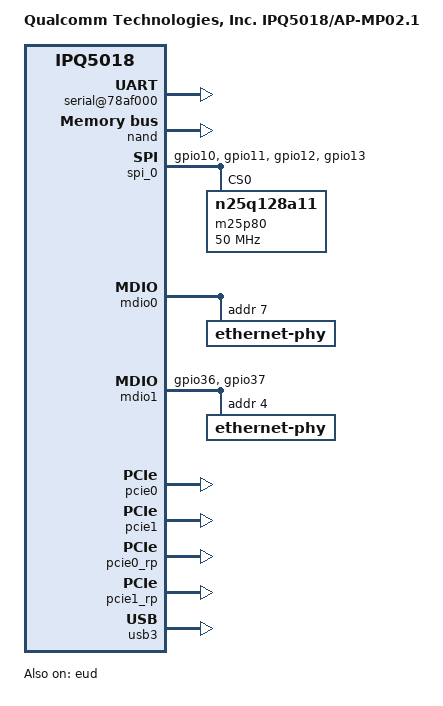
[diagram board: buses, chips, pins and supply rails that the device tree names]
/dts-v1/;
/* Copyright (c) 2018-2020, The Linux Foundation. All rights reserved.
 *
 * Permission to use, copy, modify, and/or distribute this software for any
 * purpose with or without fee is hereby granted, provided that the above
 * copyright notice and this permission notice appear in all copies.
 *
 * THE SOFTWARE IS PROVIDED "AS IS" AND THE AUTHOR DISCLAIMS ALL WARRANTIES
 * WITH REGARD TO THIS SOFTWARE INCLUDING ALL IMPLIED WARRANTIES OF
 * MERCHANTABILITY AND FITNESS. IN NO EVENT SHALL THE AUTHOR BE LIABLE FOR
 * ANY SPECIAL, DIRECT, INDIRECT, OR CONSEQUENTIAL DAMAGES OR ANY DAMAGES
 * WHATSOEVER RESULTING FROM LOSS OF USE, DATA OR PROFITS, WHETHER IN AN
 * ACTION OF CONTRACT, NEGLIGENCE OR OTHER TORTIOUS ACTION, ARISING OUT OF
 * OR IN CONNECTION WITH THE USE OR PERFORMANCE OF THIS SOFTWARE.
 */

#include "qcom-ipq5018.dtsi"

/ {
	#address-cells = <0x2>;
	#size-cells = <0x2>;
	model = "Qualcomm Technologies, Inc. IPQ5018/AP-MP02.1";
	compatible = "qcom,ipq5018-mp02.1", "qcom,ipq5018";
	interrupt-parent = <&intc>;

	aliases {
		sdhc1 = &sdhc_1; /* SDC1 eMMC slot */
		serial0 = &blsp1_uart1;
	};

	chosen {
		linux,initrd-end = <0x46000000>;
		linux,initrd-start = <0x44000000>;
		bootargs = "root=/dev/ram0 rw init=/init";
		stdout-path = "serial0";
	};

	soc {
		gcc: gcc@1800000 {
			gcc-use-dummy;
		};

		serial@78af000 {
			status = "ok";
		};

		qpic_bam: dma@7984000{
			status = "ok";
		};

		nand: qpic-nand@79b0000 {
			status = "ok";
		};

		spi_0: spi@78b5000 { /* BLSP1 QUP0 */
			pinctrl-0 = <&blsp0_spi_pins>;
			pinctrl-names = "default";
			cs-select = <0>;
			status = "ok";

			m25p80@0 {
				#address-cells = <1>;
				#size-cells = <1>;
				reg = <0>;
				compatible = "n25q128a11";
				linux,modalias = "m25p80", "n25q128a11";
				spi-max-frequency = <50000000>;
				use-default-sizes;
			};
		};

		mdio0: mdio@88000 {
			status = "ok";

			ethernet-phy@0 {
				reg = <7>;
			};
		};

		mdio1: mdio@90000 {
			status = "ok";
			pinctrl-0 = <&mdio1_pins>;
			pinctrl-names = "default";
			phy-reset-gpio = <&tlmm 26 0>;

			ethernet-phy@0 {
				reg = <4>;
			};
		};

		ess-instance {
			num_devices = <0x1>;
			ess-switch@0x39c00000 {
				switch_mac_mode = <0xf>; /* mac mode for uniphy instance*/
				qcom,port_phyinfo {
					port@0 {
						port_id = <1>;
						phy_address = <7>;
					};
					port@1 {
						port_id = <2>;
						phy_address = <0x4>;
					};
				};
			};
		};

		pcie0: pci@80000000 {
			status = "ok";
		};

		pcie1: pci@a0000000 {
			status = "ok";
		};

		wifi0: wifi@c000000 {
			status = "disabled";
		};

		qcom,test@0 {
			status = "ok";
		};

		pcie0_rp {
		        status = "ok";

			mhi_0: qcom,mhi@0 {
				reg = <0 0 0 0 0 >;
				qrtr_instance_id = <0x8001>;
			};
		};

		pcie1_rp {
		        status = "ok";

			mhi_1: qcom,mhi@1 {
				reg = <0 0 0 0 0 >;
				qrtr_instance_id = <0x8002>;
			};
		};
	};
};

&sdhc_1 {
	status = "disabled";
};

&tlmm {
	pinctrl-0 = <&uart_pins>;
	pinctrl-names = "default";

	uart_pins: uart_pins {
		blsp0_uart_rx {
			pins = "gpio28";
			function = "blsp0_uart1";
			drive-strength = <8>;
			input-enable;
			bias-disable;
			bias-pull-up;
		};
		blsp0_uart_tx {
			pins = "gpio29";
			function = "blsp0_uart1";
			drive-strength = <8>;
			bias-disable;
			output-high;
			bias-pull-up;
		};
	};

	blsp0_spi_pins: blsp0_spi_pins {
		mux {
			pins = "gpio10", "gpio11", "gpio12", "gpio13";
			function = "blsp0_spi";
			drive-strength = <8>;
			bias-disable;
		};
	};

	mdio1_pins: mdio_pinmux {
		mux_0 {
			pins = "gpio36";
			function = "mdc";
			drive-strength = <8>;
			bias-pull-up;
		};

		mux_1 {
			pins = "gpio37";
			function = "mdio";
			drive-strength = <8>;
			bias-pull-up;
		};
	};

	btss_pins: btss_pins {
		mux_0 {
			pins = "gpio4";
			function = "btss0";
			bias-pull-down;
		};

		mux_1 {
			pins = "gpio5";
			function = "btss1";
			bias-pull-down;
		};

		mux_2 {
			pins = "gpio6";
			function = "btss2";
			bias-pull-down;
		};

		mux_3 {
			pins = "gpio7";
			function = "btss3";
			bias-pull-down;
		};
	};
};

&usb3 {
	status = "ok";
};

&eud {
	status = "ok";
};

&pcie0 {
	status = "ok";
	perst-gpio = <&tlmm 15 1>;
};

&pcie1 {
	status = "ok";
	perst-gpio = <&tlmm 27 1>;
};
